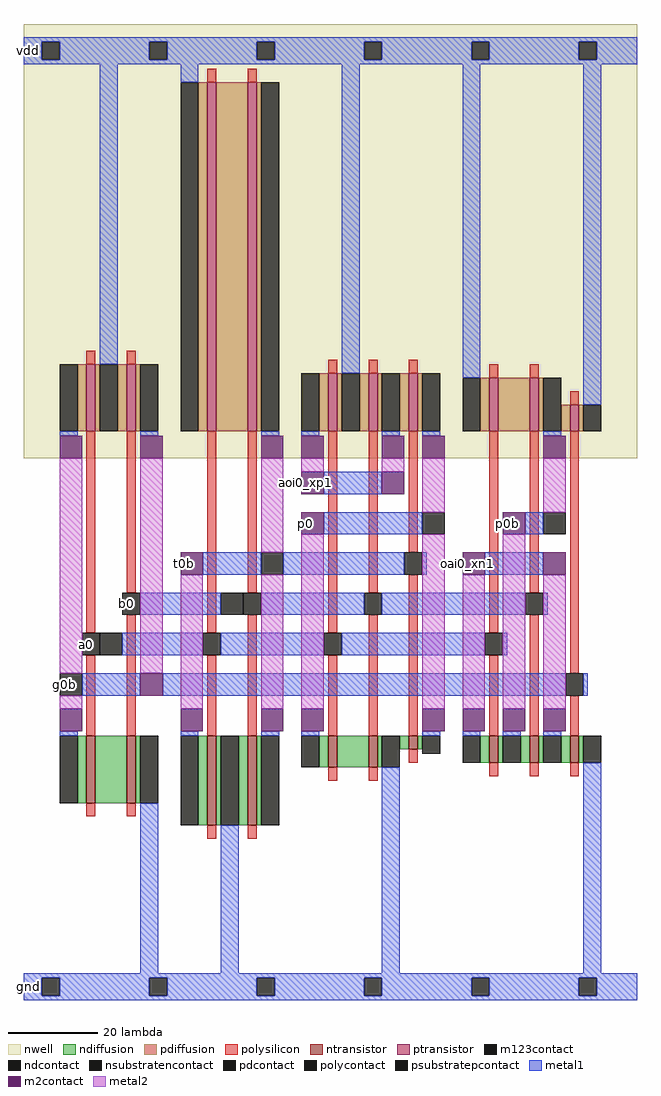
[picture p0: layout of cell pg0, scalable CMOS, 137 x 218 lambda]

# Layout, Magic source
magic
tech scmos
<< nwell >>
rect 0 121 137 218
<< ntransistor >>
rect 14 44 16 59
rect 23 44 25 59
rect 41 39 43 59
rect 50 39 52 59
rect 68 52 70 59
rect 77 52 79 59
rect 86 56 88 59
rect 104 53 106 59
rect 113 53 115 59
rect 122 53 124 59
<< ptransistor >>
rect 14 127 16 142
rect 23 127 25 142
rect 41 127 43 205
rect 50 127 52 205
rect 68 127 70 140
rect 77 127 79 140
rect 86 127 88 140
rect 104 127 106 139
rect 113 127 115 139
rect 122 127 124 133
<< ndiffusion >>
rect 12 44 14 59
rect 16 44 23 59
rect 25 44 26 59
rect 39 39 41 59
rect 43 39 44 59
rect 48 39 50 59
rect 52 39 53 59
rect 66 52 68 59
rect 70 52 77 59
rect 79 52 80 59
rect 84 56 86 59
rect 88 56 89 59
rect 102 53 104 59
rect 106 53 107 59
rect 111 53 113 59
rect 115 53 116 59
rect 120 53 122 59
rect 124 53 125 59
<< pdiffusion >>
rect 12 127 14 142
rect 16 127 17 142
rect 21 127 23 142
rect 25 127 26 142
rect 39 127 41 205
rect 43 127 50 205
rect 52 127 53 205
rect 66 127 68 140
rect 70 127 71 140
rect 75 127 77 140
rect 79 127 80 140
rect 84 127 86 140
rect 88 127 89 140
rect 102 127 104 139
rect 106 127 113 139
rect 115 127 116 139
rect 120 127 122 133
rect 124 127 125 133
<< ndcontact >>
rect 8 44 12 59
rect 26 44 30 59
rect 35 39 39 59
rect 44 39 48 59
rect 53 39 57 59
rect 62 52 66 59
rect 80 52 84 59
rect 89 55 93 59
rect 98 53 102 59
rect 107 53 111 59
rect 116 53 120 59
rect 125 53 129 59
<< pdcontact >>
rect 8 127 12 142
rect 17 127 21 142
rect 26 127 30 142
rect 35 127 39 205
rect 53 127 57 205
rect 62 127 66 140
rect 71 127 75 140
rect 80 127 84 140
rect 89 127 93 140
rect 98 127 102 139
rect 116 127 120 139
rect 125 127 129 133
<< psubstratepcontact >>
rect 4 1 8 5
rect 28 1 32 5
rect 52 1 56 5
rect 76 1 80 5
rect 100 1 104 5
rect 124 1 128 5
<< nsubstratencontact >>
rect 4 210 8 214
rect 28 210 32 214
rect 52 210 56 214
rect 76 210 80 214
rect 100 210 104 214
rect 124 210 128 214
<< polysilicon >>
rect 41 205 43 208
rect 50 205 52 208
rect 14 142 16 145
rect 23 142 25 145
rect 68 140 70 143
rect 77 140 79 143
rect 86 140 88 143
rect 104 139 106 142
rect 113 139 115 142
rect 122 133 124 136
rect 14 82 16 127
rect 23 91 25 127
rect 14 59 16 77
rect 23 59 25 86
rect 41 82 43 127
rect 50 91 52 127
rect 41 59 43 77
rect 50 59 52 86
rect 68 82 70 127
rect 77 91 79 127
rect 86 100 88 127
rect 68 59 70 77
rect 77 59 79 86
rect 86 59 88 95
rect 104 82 106 127
rect 113 91 115 127
rect 104 59 106 77
rect 113 59 115 86
rect 122 73 124 127
rect 122 59 124 68
rect 14 41 16 44
rect 23 41 25 44
rect 86 53 88 56
rect 68 49 70 52
rect 77 49 79 52
rect 104 50 106 53
rect 113 50 115 53
rect 122 50 124 53
rect 41 36 43 39
rect 50 36 52 39
<< polycontact >>
rect 22 86 26 91
rect 13 77 17 82
rect 49 86 53 91
rect 40 77 44 82
rect 85 95 89 100
rect 76 86 80 91
rect 67 77 71 82
rect 112 86 116 91
rect 103 77 107 82
rect 121 68 125 73
<< metal1 >>
rect 0 214 137 215
rect 0 210 4 214
rect 8 210 28 214
rect 32 210 52 214
rect 56 210 76 214
rect 80 210 100 214
rect 104 210 124 214
rect 128 210 137 214
rect 0 209 137 210
rect 17 142 21 209
rect 35 205 39 209
rect 71 140 75 209
rect 8 126 12 127
rect 26 126 30 127
rect 53 126 57 127
rect 62 126 66 127
rect 80 126 84 127
rect 98 139 102 209
rect 125 133 129 209
rect 89 126 93 127
rect 116 126 120 127
rect 67 113 80 118
rect 67 104 89 109
rect 112 104 116 109
rect 40 95 53 100
rect 58 95 85 100
rect 89 95 90 100
rect 103 95 116 100
rect 26 86 44 91
rect 53 86 76 91
rect 80 86 112 91
rect 116 86 117 91
rect 22 77 40 82
rect 44 77 67 82
rect 71 77 103 82
rect 107 77 108 82
rect 13 68 26 73
rect 31 68 121 73
rect 125 68 126 73
rect 8 59 12 60
rect 35 59 39 60
rect 53 59 57 60
rect 26 6 30 44
rect 62 59 66 60
rect 89 59 93 60
rect 98 59 102 60
rect 107 59 111 60
rect 116 59 120 60
rect 44 6 48 39
rect 80 6 84 52
rect 125 6 129 53
rect 0 5 137 6
rect 0 1 4 5
rect 8 1 28 5
rect 32 1 52 5
rect 56 1 76 5
rect 80 1 100 5
rect 104 1 124 5
rect 128 1 137 5
rect 0 0 137 1
<< m2contact >>
rect 8 121 13 126
rect 26 121 31 126
rect 53 121 58 126
rect 62 121 67 126
rect 80 121 85 126
rect 89 121 94 126
rect 116 121 121 126
rect 62 113 67 118
rect 80 113 85 118
rect 62 104 67 109
rect 107 104 112 109
rect 35 95 40 100
rect 98 95 103 100
rect 116 95 121 100
rect 26 68 31 73
rect 8 60 13 65
rect 35 60 40 65
rect 53 60 58 65
rect 62 60 67 65
rect 89 60 94 65
rect 98 60 103 65
rect 107 60 112 65
rect 116 60 121 65
<< metal2 >>
rect 8 73 13 121
rect 26 73 31 121
rect 53 100 58 121
rect 62 118 67 121
rect 80 118 85 121
rect 89 109 94 121
rect 116 109 121 121
rect 8 65 13 68
rect 35 65 40 95
rect 53 65 58 95
rect 62 65 67 104
rect 89 65 94 104
rect 98 65 103 95
rect 107 65 112 104
rect 116 65 121 95
<< m123contact >>
rect 17 77 22 82
rect 8 68 13 73
rect 53 95 58 100
rect 44 86 49 91
rect 89 104 94 109
rect 116 104 121 109
<< labels >>
rlabel metal1 13 77 15 82 0 a0
port 1 nsew
rlabel metal1 22 86 24 91 0 b0
port 2 nsew
rlabel metal1 8 68 10 73 0 g0b
port 3 nsew
rlabel m2contact 62 104 64 109 0 p0
port 4 nsew
rlabel m2contact 107 104 109 109 0 p0b
port 5 nsew
rlabel m2contact 35 95 37 100 0 t0b
port 6 nsew
rlabel m2contact 62 113 64 118 0 aoi0_xp1
rlabel m2contact 98 95 100 100 0 oai0_xn1
rlabel metal1 0 209 2 215 0 vdd
port 7 nsew
rlabel metal1 0 0 2 6 0 gnd
port 8 nsew
<< end >>
